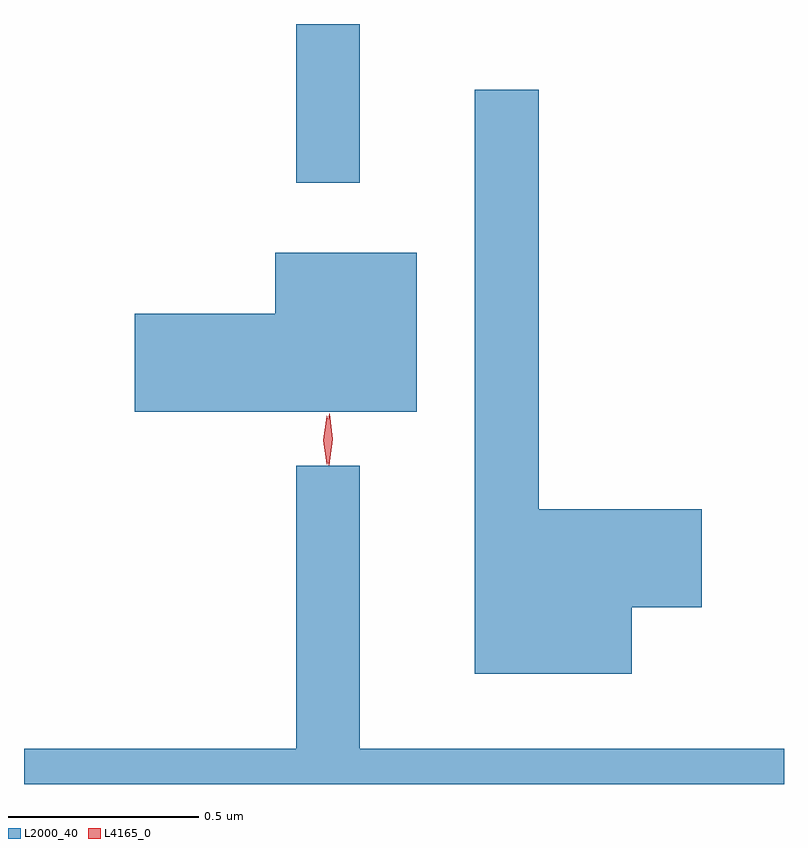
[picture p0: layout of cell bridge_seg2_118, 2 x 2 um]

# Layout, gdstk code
import gdstk
lib = gdstk.Library(unit=1e-6, precision=1e-09)
def R(c, l, rs):  # rectangles x0, y0, x1, y1
    for r in rs: c.add(gdstk.rectangle(r[:2], r[2:], *l))
def P(c, l, *ps):  # polygons
    for p in ps: c.add(gdstk.Polygon(p, *l))
L2000_40 = (2000, 40)
L4165_0 = (4165, 0)

bridge_seg2_118 = lib.new_cell('bridge_seg2_118')
R(bridge_seg2_118, L2000_40, [(917.611,1067.833,917.779,1068.251)])
P(bridge_seg2_118, L2000_40, [(918.494,1066.716),(918.679,1066.716),(918.679,1066.974),(918.249,1066.974),(918.249,1068.078),(918.081,1068.078),(918.081,1066.541),(918.494,1066.541)],
  [(917.929,1067.649),(917.556,1067.649),(917.556,1067.489),(917.186,1067.489),(917.186,1067.231),(917.929,1067.231)],
  [(918.895,1066.344),(917.779,1066.344),(917.779,1067.088),(917.611,1067.088),(917.611,1066.344),(916.895,1066.344),(916.895,1066.251),(918.895,1066.251)])
P(bridge_seg2_118, L4165_0, [(917.697,1067.09),(917.697,1067.09),(917.688,1067.158),(917.698,1067.226),(917.699,1067.226),(917.699,1067.226),(917.708,1067.158),(917.698,1067.09)],
  [(917.692,1067.093),(917.692,1067.093),(917.682,1067.156),(917.692,1067.219),(917.692,1067.22),(917.693,1067.219),(917.702,1067.156),(917.693,1067.093)])

lib.write_gds('bridge_seg2_118.gds')
